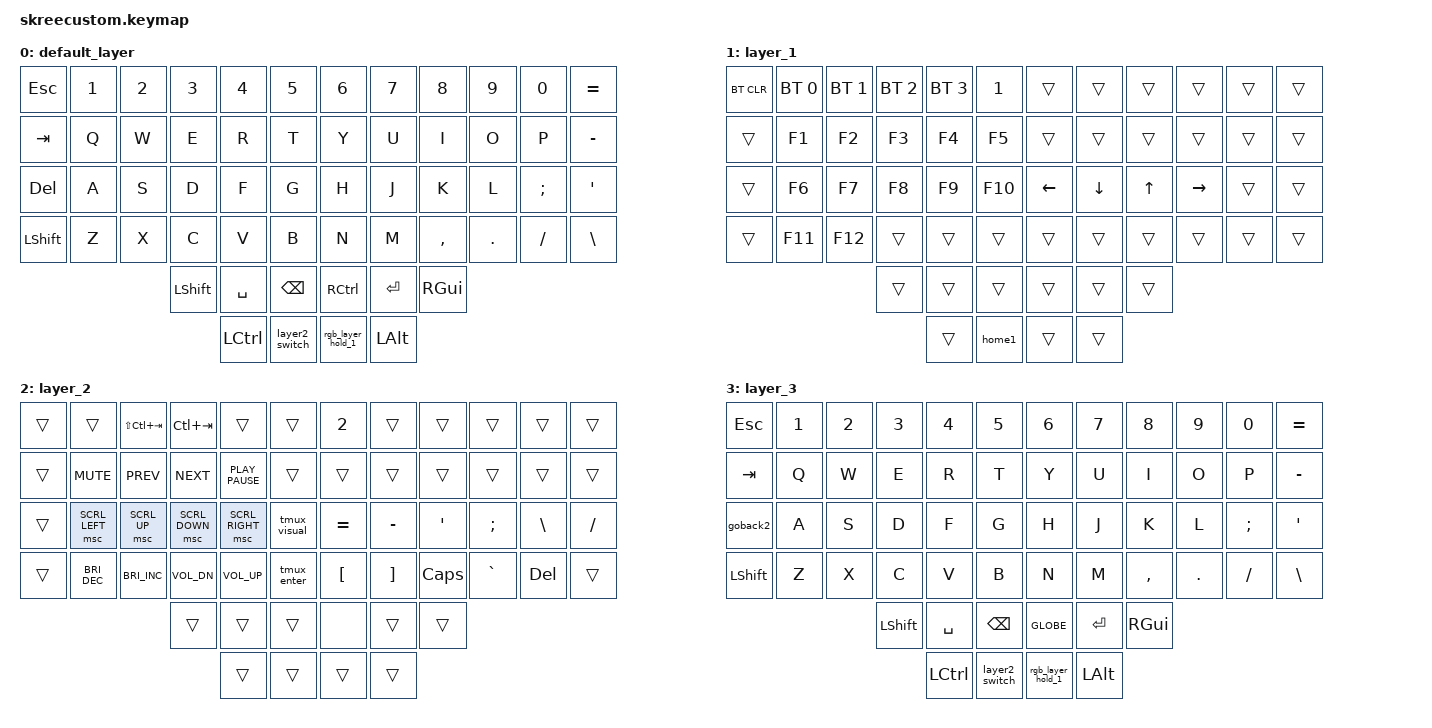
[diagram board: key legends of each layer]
/*
 * Copyright (c) 2020 The ZMK Contributors
 *
 * SPDX-License-Identifier: MIT
 */

#include <input/processors.dtsi>
#include <dt-bindings/zmk/input_transform.h>
#include <behaviors.dtsi>
#include <dt-bindings/zmk/bt.h>
#include <dt-bindings/zmk/keys.h>
#include <dt-bindings/zmk/pointing.h>
#include <dt-bindings/zmk/rgb.h>

/ {
    macros {
        layer2_switch: new_macro {
            compatible = "zmk,behavior-macro";
            #binding-cells = <0>;
            bindings = <&tog 1 &rgb_ug RGB_COLOR_HSB(202,100,50)>;
            label = "NEW_MACRO";
        };

        home1: home1 {
            compatible = "zmk,behavior-macro";
            #binding-cells = <0>;
            bindings = <&tog 1 &home_color>;
            label = "HOME1";
        };

        home_color: home_color {
            compatible = "zmk,behavior-macro";
            #binding-cells = <0>;
            bindings = <&rgb_ug RGB_COLOR_HSB(41,100,50)>;
            label = "HOME_COLOR";
        };

        tmux_enter: tmux_enter {
            compatible = "zmk,behavior-macro";
            #binding-cells = <0>;
            bindings = <&kp LC(A)>;
            label = "TMUX_ENTER";
        };

        tmux_visual: tmux_visual {
            compatible = "zmk,behavior-macro";
            #binding-cells = <0>;
            bindings = <&tmux_enter &kp LEFT_BRACKET>;
            label = "TMUX_VISUAL";
        };

        rgb_layer_hold_1: rgb_layer_hold_1 {
            compatible = "zmk,behavior-macro";
            #binding-cells = <0>;
            bindings =
                <&macro_press>,
                <&mo 2>,
                <&macro_tap>,
                <&rgb_ug RGB_COLOR_HSB(122,100,50)>,
                <&macro_pause_for_release>,
                <&macro_release>,
                <&mo 2>,
                <&macro_tap>,
                <&home_color>;

            label = "RGB_LAYER_HOLD_1";
        };

        macos: macos {
            compatible = "zmk,behavior-macro";
            #binding-cells = <0>;
            bindings = <&tog 3 &rgb_ug RGB_COLOR_HSB(301,100,50)>;
            label = "MACOS";
        };

        goback2: goback2 {
            compatible = "zmk,behavior-macro";
            #binding-cells = <0>;
            bindings = <&tog 3 &home_color>;
            label = "GOBACK2";
        };
    };

    keymap {
        compatible = "zmk,keymap";

        default_layer {
            bindings = <
&kp ESC         &kp N1  &kp N2  &kp N3     &kp N4     &kp N5            &kp N6             &kp N7    &kp N8     &kp N9   &kp N0    &kp EQUAL
&kp TAB         &kp Q   &kp W   &kp E      &kp R      &kp T             &kp Y              &kp U     &kp I      &kp O    &kp P     &kp MINUS
&kp DEL         &kp A   &kp S   &kp D      &kp F      &kp G             &kp H              &kp J     &kp K      &kp L    &kp SEMI  &kp SQT
&kp LEFT_SHIFT  &kp Z   &kp X   &kp C      &kp V      &kp B             &kp N              &kp M     &kp COMMA  &kp DOT  &kp FSLH  &kp BSLH
                                &kp LSHFT  &kp SPACE  &kp BSPC          &kp RCTRL          &kp RET   &kp RGUI
                                           &kp LCTRL  &layer2_switch    &rgb_layer_hold_1  &kp LALT
            >;
        };

        layer_1 {
            bindings = <
&bt BT_CLR  &bt BT_SEL 0  &bt BT_SEL 1  &bt BT_SEL 2  &bt BT_SEL 3  &kp N1     &trans          &trans          &trans        &trans           &trans  &trans
&trans      &kp F1        &kp F2        &kp F3        &kp F4        &kp F5     &trans          &trans          &trans        &trans           &trans  &trans
&trans      &kp F6        &kp F7        &kp F8        &kp F9        &kp F10    &kp LEFT_ARROW  &kp DOWN_ARROW  &kp UP_ARROW  &kp RIGHT_ARROW  &trans  &trans
&trans      &kp F11       &kp F12       &trans        &trans        &trans     &trans          &trans          &trans        &trans           &trans  &trans
                                        &trans        &trans        &trans     &trans          &trans          &trans
                                                      &trans        &home1     &trans          &trans
            >;
        };

        layer_2 {
            bindings = <
&trans  &trans          &kp LS(LC(TAB))       &kp LC(TAB)     &trans            &trans          &kp N2            &trans             &trans            &trans     &trans         &trans
&trans  &kp K_MUTE      &kp K_PREV            &kp K_NEXT      &kp K_PLAY_PAUSE  &trans          &trans            &trans             &trans            &trans     &trans         &trans
&trans  &msc SCRL_LEFT  &msc SCRL_UP          &msc SCRL_DOWN  &msc SCRL_RIGHT   &tmux_visual    &kp EQUAL         &kp MINUS          &kp SINGLE_QUOTE  &kp SEMI   &kp BACKSLASH  &kp SLASH
&trans  &kp C_BRI_DEC   &kp C_BRIGHTNESS_INC  &kp C_VOL_DN    &kp C_VOLUME_UP   &tmux_enter     &kp LEFT_BRACKET  &kp RIGHT_BRACKET  &kp CAPS          &kp GRAVE  &kp DEL        &trans
                                              &trans          &trans            &trans          &none             &trans             &trans
                                                              &trans            &trans          &trans            &trans
            >;
        };

        layer_3 {
            bindings = <
&kp ESC         &kp N1  &kp N2  &kp N3     &kp N4     &kp N5            &kp N6             &kp N7    &kp N8     &kp N9   &kp N0    &kp EQUAL
&kp TAB         &kp Q   &kp W   &kp E      &kp R      &kp T             &kp Y              &kp U     &kp I      &kp O    &kp P     &kp MINUS
&goback2        &kp A   &kp S   &kp D      &kp F      &kp G             &kp H              &kp J     &kp K      &kp L    &kp SEMI  &kp SQT
&kp LEFT_SHIFT  &kp Z   &kp X   &kp C      &kp V      &kp B             &kp N              &kp M     &kp COMMA  &kp DOT  &kp FSLH  &kp BSLH
                                &kp LSHFT  &kp SPACE  &kp BSPC          &kp GLOBE          &kp RET   &kp RGUI
                                           &kp LCTRL  &layer2_switch    &rgb_layer_hold_1  &kp LALT
            >;
        };
    };
};

// //right hand trackball overrides
// &trackball_peripheral_listener {
//     input-processors =
//         <&zip_xy_transform INPUT_TRANSFORM_XY_SWAP>,//this gets it to the default installation orientation
//         <&zip_temp_layer 3 500>;//activate layer 3 within 500ms of the trackball moving
// };
// //left hand trackball overrides
// &trackball_central_listener {
//     input-processors = 
//         <&zip_xy_transform INPUT_TRANSFORM_XY_SWAP>,//this gets it to the default installation orientation
//         <&zip_xy_scaler 1 3>,//multiply sensitivity by 1, divide by 3 (make it slower for scrolling)
//         <&zip_xy_to_scroll_mapper>,//make this trackball output scrolling events by default instead of cursor movement
//         <&zip_scroll_transform INPUT_TRANSFORM_Y_INVERT>;//invert vertical scrolling so that the view moves in the same direction as the top of the trackball.
// };
